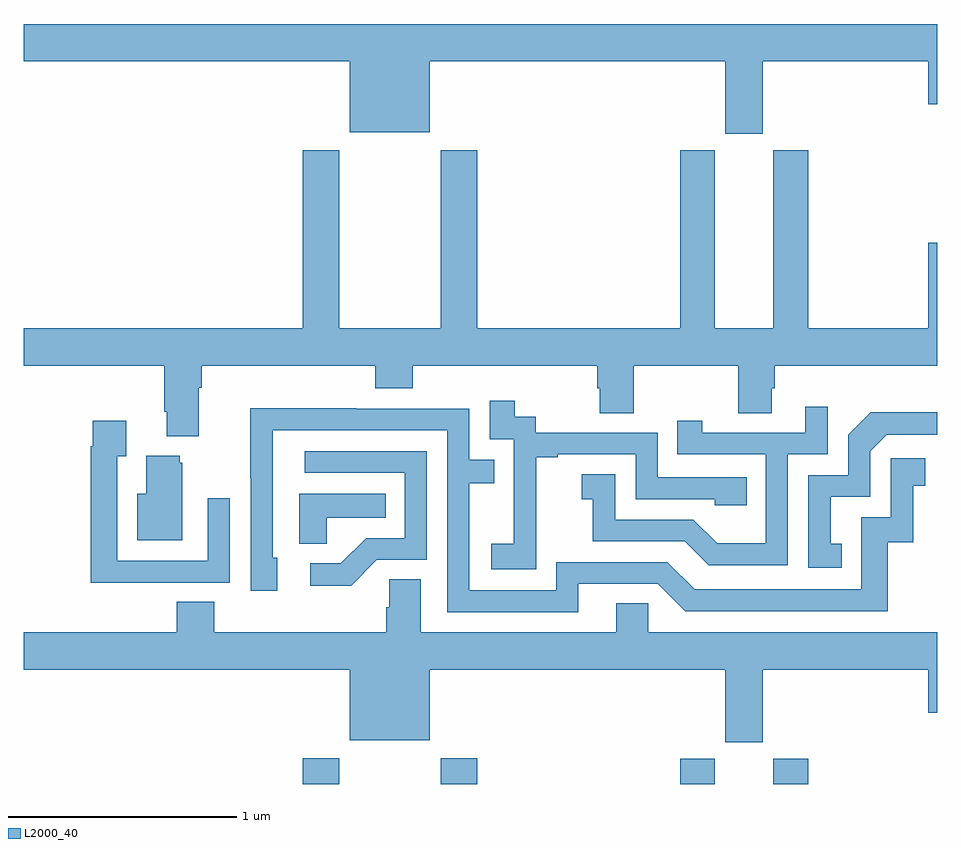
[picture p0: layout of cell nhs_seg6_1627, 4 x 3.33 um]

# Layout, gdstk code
import gdstk
lib = gdstk.Library(unit=1e-6, precision=1e-09)
def R(c, l, rs):  # rectangles x0, y0, x1, y1
    for r in rs: c.add(gdstk.rectangle(r[:2], r[2:], *l))
def P(c, l, *ps):  # polygons
    for p in ps: c.add(gdstk.Polygon(p, *l))
L2000_40 = (2000, 40)

nhs_seg6_1627 = lib.new_cell('nhs_seg6_1627')
R(nhs_seg6_1627, L2000_40, [(210.221,949.5,210.381,949.612), (210.826,949.5,210.986,949.612), (211.874,949.5,212.026,949.611), (212.282,949.5,212.435,949.611)])
P(nhs_seg6_1627, L2000_40, [(209,952.664),(210.428,952.664),(210.428,952.355),(210.778,952.355),(210.778,952.664),(212.072,952.664),(212.072,952.347),(212.236,952.347),(212.236,952.664),(212.96,952.664),(212.96,952.476),(213,952.476),(213,952.828),(209,952.828)],
  [(209.767,951.236),(209.78,951.236),(209.78,951.332),(210.539,951.332),(210.539,951.233),(210.704,951.233),(210.704,951.332),(211.511,951.332),(211.511,951.234),(211.523,951.234),(211.523,951.124),(211.671,951.124),(211.671,951.332),(212.128,951.332),(212.128,951.124),(212.275,951.124),(212.275,951.234),(212.288,951.234),(212.288,951.332),(213,951.332),(213,951.871),(212.96,951.871),(212.96,951.496),(212.435,951.496),(212.435,952.275),(212.282,952.275),(212.282,951.496),(212.026,951.496),(212.026,952.275),(211.874,952.275),(211.874,951.496),(210.986,951.496),(210.986,952.276),(210.826,952.276),(210.826,951.496),(210.381,951.496),(210.381,952.276),(210.221,952.276),(210.221,951.496),(209,951.496),(209,951.332),(209.615,951.332),(209.615,951.13),(209.627,951.13),(209.627,951.023),(209.767,951.023)],
  [(211.245,950.647),(211.244,950.647),(211.244,950.931),(211.339,950.931),(211.339,950.943),(211.68,950.943),(211.68,950.748),(212.025,950.748),(212.025,950.721),(212.165,950.721),(212.165,950.844),(211.776,950.844),(211.776,951.039),(211.242,951.039),(211.242,951.108),(211.15,951.108),(211.15,951.178),(211.041,951.178),(211.041,951.009),(211.146,951.009),(211.146,950.78),(211.145,950.78),(211.145,950.551),(211.047,950.551),(211.047,950.441),(211.245,950.441)],
  [(212.346,950.943),(212.52,950.943),(212.52,951.151),(212.423,951.151),(212.423,951.039),(211.972,951.039),(211.972,951.091),(211.861,951.091),(211.861,950.943),(212.25,950.943),(212.25,950.554),(212.036,950.554),(211.932,950.658),(211.59,950.658),(211.59,950.857),(211.443,950.857),(211.443,950.747),(211.492,950.747),(211.492,950.562),(211.895,950.562),(212,950.457),(212.346,950.457)],
  [(211.429,950.376),(211.776,950.376),(211.896,950.256),(212.783,950.256),(212.783,950.559),(212.894,950.559),(212.894,950.805),(212.947,950.805),(212.947,950.926),(212.796,950.926),(212.796,950.667),(212.667,950.667),(212.667,950.352),(211.938,950.352),(211.818,950.472),(211.332,950.472),(211.332,950.349),(210.951,950.349),(210.951,950.818),(211.061,950.818),(211.061,950.919),(210.951,950.919),(210.951,951.144),(210.455,951.144),(210.455,951.146),(209.992,951.146),(209.992,950.839),(209.994,950.839),(209.994,950.346),(210.109,950.346),(210.109,950.49),(210.09,950.49),(210.09,951.048),(210.855,951.048),(210.855,950.253),(211.429,950.253)],
  [(212.582,950.553),(212.533,950.553),(212.533,950.757),(212.706,950.757),(212.706,950.958),(212.778,951.03),(213,951.03),(213,951.128),(212.708,951.128),(212.61,951.03),(212.61,950.853),(212.436,950.853),(212.436,950.448),(212.582,950.448)],
  [(209.585,950.382),(209.901,950.382),(209.901,950.752),(209.805,950.752),(209.805,950.478),(209.409,950.478),(209.409,950.935),(209.449,950.935),(209.449,951.091),(209.301,951.091),(209.301,950.978),(209.293,950.978),(209.293,950.381),(209.585,950.381)],
  [(210.546,950.481),(210.765,950.481),(210.765,950.958),(210.231,950.958),(210.231,950.862),(210.669,950.862),(210.669,950.577),(210.5,950.577),(210.389,950.466),(210.255,950.466),(210.255,950.369),(210.433,950.369)],
  [(209.695,950.907),(209.684,950.907),(209.684,950.938),(209.537,950.938),(209.537,950.77),(209.498,950.77),(209.498,950.567),(209.695,950.567)],
  [(210.327,950.666),(210.584,950.666),(210.584,950.77),(210.206,950.77),(210.206,950.551),(210.327,950.551)],
  [(212.236,950),(212.96,950),(212.96,949.812),(213,949.812),(213,950.164),(211.734,950.164),(211.734,950.291),(211.595,950.291),(211.595,950.164),(210.739,950.164),(210.739,950.396),(210.6,950.396),(210.6,950.273),(210.587,950.273),(210.587,950.164),(209.834,950.164),(209.834,950.297),(209.669,950.297),(209.669,950.164),(209,950.164),(209,950),(210.428,950),(210.428,949.691),(210.778,949.691),(210.778,950),(212.072,950),(212.072,949.683),(212.236,949.683)])

lib.write_gds('nhs_seg6_1627.gds')
